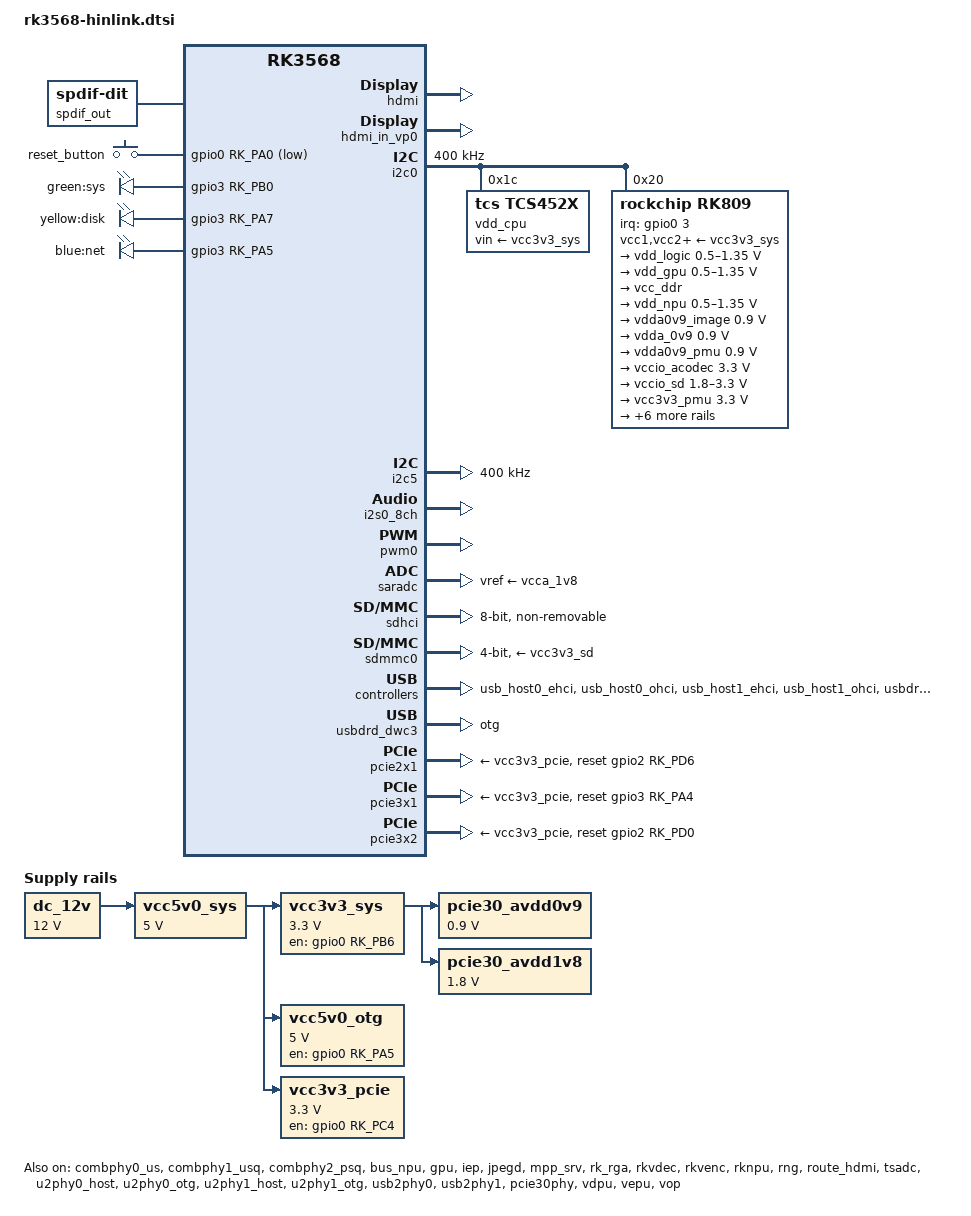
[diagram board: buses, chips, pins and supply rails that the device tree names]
// SPDX-License-Identifier: (GPL-2.0+ OR MIT)
/*
 * Copyright (c) 2020 Rockchip Electronics Co., Ltd.
 *
 */

/dts-v1/;

#include <dt-bindings/gpio/gpio.h>
#include <dt-bindings/pinctrl/rockchip.h>
#include <dt-bindings/pwm/pwm.h>
#include <dt-bindings/input/rk-input.h>
#include <dt-bindings/display/drm_mipi_dsi.h>
#include <dt-bindings/display/rockchip_vop.h>
#include <dt-bindings/sensor-dev.h>
#include "rk3568.dtsi"

/ {
	aliases {
		mmc0 = &sdmmc0;
		mmc1 = &sdhci;

		led-boot = &led_green;
		led-failsafe = &led_green;
		led-running = &led_green;
		led-upgrade = &led_green;
	};

	chosen: chosen {
		bootargs = "earlycon=uart8250,mmio32,0xfe660000 console=ttyFIQ0 root=PARTUUID=614e0000-0000 rw rootwait";
	};

	fiq-debugger {
		compatible = "rockchip,fiq-debugger";
		rockchip,serial-id = <2>;
		rockchip,wake-irq = <0>;
		/* If enable uart uses irq instead of fiq */
		rockchip,irq-mode-enable = <1>;
		rockchip,baudrate = <1500000>;  /* Only 115200 and 1500000 */
		interrupts = <GIC_SPI 252 IRQ_TYPE_LEVEL_LOW>;
		pinctrl-names = "default";
		pinctrl-0 = <&uart2m0_xfer>;
		status = "okay";
	};

	firmware {
		optee: optee {
			compatible = "linaro,optee-tz";
			method = "smc";
		};
	};

	debug: debug@fd904000 {
		compatible = "rockchip,debug";
		reg = <0x0 0xfd904000 0x0 0x1000>,
			<0x0 0xfd905000 0x0 0x1000>,
			<0x0 0xfd906000 0x0 0x1000>,
			<0x0 0xfd907000 0x0 0x1000>;
	};

	cspmu: cspmu@fd90c000 {
		compatible = "rockchip,cspmu";
		reg = <0x0 0xfd90c000 0x0 0x1000>,
			<0x0 0xfd90d000 0x0 0x1000>,
			<0x0 0xfd90e000 0x0 0x1000>,
			<0x0 0xfd90f000 0x0 0x1000>;
	};

	hdmi_sound: hdmi-sound {
		compatible = "simple-audio-card";
		simple-audio-card,format = "i2s";
		simple-audio-card,mclk-fs = <128>;
		simple-audio-card,name = "rockchip,hdmi";
		status = "disabled";

		simple-audio-card,cpu {
				sound-dai = <&i2s0_8ch>;
		};
		simple-audio-card,codec {
				sound-dai = <&hdmi>;
		};
	};

	mach: board {
		compatible = "friendlyelec,board";
		machine = "NANOPI5";
		hwrev = <255>;
		model = "NanoPi 5 Series";
		nvmem-cells = <&otp_id>, <&otp_cpu_version>;
		nvmem-cell-names = "id", "cpu-version";
	};

	pdmics: dummy-codec {
		status = "disabled";
		compatible = "rockchip,dummy-codec";
		#sound-dai-cells = <0>;
	};

	pdm_mic_array: pdm-mic-array {
		status = "disabled";
		compatible = "simple-audio-card";
		simple-audio-card,name = "rockchip,pdm-mic-array";
		simple-audio-card,cpu {
			sound-dai = <&pdm>;
		};
		simple-audio-card,codec {
			sound-dai = <&pdmics>;
		};
	};

	rk809_sound: rk809-sound {
		status = "okay";
		compatible = "simple-audio-card";
		simple-audio-card,format = "i2s";
		simple-audio-card,name = "rockchip,rk809-codec";
		simple-audio-card,mclk-fs = <256>;

		simple-audio-card,cpu {
			sound-dai = <&i2s1_8ch>;
		};
		simple-audio-card,codec {
			sound-dai = <&rk809_codec 0>;
		};
	};

	spdif-sound {
		status = "okay";
		compatible = "simple-audio-card";
		simple-audio-card,name = "ROCKCHIP,SPDIF";
		simple-audio-card,cpu {
				sound-dai = <&spdif_8ch>;
		};
		simple-audio-card,codec {
				sound-dai = <&spdif_out>;
		};
	};

	spdif_out: spdif-out {
			status = "okay";
			compatible = "linux,spdif-dit";
			#sound-dai-cells = <0>;
	};

	dc_12v: dc-12v {
		compatible = "regulator-fixed";
		regulator-name = "dc_12v";
		regulator-always-on;
		regulator-boot-on;
		regulator-min-microvolt = <12000000>;
		regulator-max-microvolt = <12000000>;
	};

	vcc5v0_sys: vcc5v0-sys {
		compatible = "regulator-fixed";
		regulator-name = "vcc5v0_sys";
		regulator-always-on;
		regulator-boot-on;
		regulator-min-microvolt = <5000000>;
		regulator-max-microvolt = <5000000>;
		vin-supply = <&dc_12v>;
	};

	vcc3v3_sys: vcc3v3-sys {
		compatible = "regulator-fixed";
		regulator-name = "vcc3v3_sys";
		regulator-always-on;
		regulator-boot-on;
		regulator-min-microvolt = <3300000>;
		regulator-max-microvolt = <3300000>;
		enable-active-high;
		gpio = <&gpio0 RK_PB6 GPIO_ACTIVE_HIGH>;
		pinctrl-names = "default";
		pinctrl-0 = <&vcc3v3_sys_en>;
		vin-supply = <&vcc5v0_sys>;
        };

	vcc5v0_otg: vcc5v0-otg-regulator {
		compatible = "regulator-fixed";
		regulator-name = "vcc5v0_otg";
		regulator-min-microvolt = <5000000>;
		regulator-max-microvolt = <5000000>;
		enable-active-high;
		gpio = <&gpio0 RK_PA5 GPIO_ACTIVE_HIGH>;
		vin-supply = <&vcc5v0_sys>;
		pinctrl-names = "default";
		pinctrl-0 = <&vcc5v0_otg_en>;
	};

	pcie30_avdd0v9: pcie30-avdd0v9 {
		compatible = "regulator-fixed";
		regulator-name = "pcie30_avdd0v9";
		regulator-always-on;
		regulator-boot-on;
		regulator-min-microvolt = <900000>;
		regulator-max-microvolt = <900000>;
		vin-supply = <&vcc3v3_sys>;
	};

	pcie30_avdd1v8: pcie30-avdd1v8 {
		compatible = "regulator-fixed";
		regulator-name = "pcie30_avdd1v8";
		regulator-always-on;
		regulator-boot-on;
		regulator-min-microvolt = <1800000>;
		regulator-max-microvolt = <1800000>;
		vin-supply = <&vcc3v3_sys>;
	};

	vcc3v3_pcie: gpio-regulator {
		compatible = "regulator-fixed";
		regulator-name = "vcc3v3_pcie";
		regulator-min-microvolt = <3300000>;
		regulator-max-microvolt = <3300000>;
		enable-active-high;
		gpio = <&gpio0 RK_PC4 GPIO_ACTIVE_HIGH>;
		startup-delay-us = <5000>;
		vin-supply = <&vcc5v0_sys>;
	};

	gpio-keys {
		compatible = "gpio-keys";
		pinctrl-names = "default";
		pinctrl-0 = <&reset_button>;

		button@1 {
			label = "reset_button";
			linux,code = <KEY_RESTART>;
			gpios = <&gpio0 RK_PA0 GPIO_ACTIVE_LOW>;
			linux,input-type = <1>;
			debounce-interval = <60>;
		};
	};

	leds {
		compatible = "gpio-leds";
		pinctrl-names = "default";
		pinctrl-0 =
			<&led_green_en>,
			<&led_yellow_en>,
			<&led_blue_en>;

		led_green: green {
			gpios = <&gpio3 RK_PB0 GPIO_ACTIVE_HIGH>;
			label = "green:sys";
			linux,default-trigger = "heartbeat";
		};
		led_yellow: yellow {
			gpios = <&gpio3 RK_PA7 GPIO_ACTIVE_HIGH>;
			label = "yellow:disk";
		};
		led_blue: blue {
			gpios = <&gpio3 RK_PA5 GPIO_ACTIVE_HIGH>;
			label = "blue:net";
		};
	};

};

&combphy0_us {
	status = "okay";
};

&combphy1_usq {
	status = "okay";
};

&combphy2_psq {
	status = "okay";
};

&dfi {
	status = "disabled";
};

&dmc {
	status = "disabled";
};

&bus_npu {
	bus-supply = <&vdd_logic>;
	pvtm-supply = <&vdd_cpu>;
	status = "okay";
};

&cpu0 {
	cpu-supply = <&vdd_cpu>;
};

&dsi0 {
	status = "disabled";
};

&dsi1 {
	status = "disabled";
};

&gpu {
	mali-supply = <&vdd_gpu>;
	status = "okay";
};

&hdmi {
	status = "okay";
	rockchip,phy-table =
		<92812500  0x8009 0x0000 0x0270>,
		<165000000 0x800b 0x0000 0x026d>,
		<185625000 0x800b 0x0000 0x01ed>,
		<297000000 0x800b 0x0000 0x01ad>,
		<594000000 0x8029 0x0000 0x0088>,
		<000000000 0x0000 0x0000 0x0000>;
};

&hdmi_in_vp0 {
	status = "okay";
};

&hdmi_in_vp1 {
	status = "disabled";
};

&hdmi_sound {
	status = "okay";
};

&i2c0 {
	status = "okay";
	i2c-scl-rising-time-ns = <160>;
	i2c-scl-falling-time-ns = <30>;
	clock-frequency = <400000>;

	vdd_cpu: tcs4525@1c {
		compatible = "tcs,tcs452x";
		reg = <0x1c>;
		vin-supply = <&vcc3v3_sys>;
		regulator-compatible = "fan53555-reg";
		regulator-name = "vdd_cpu";
		regulator-min-microvolt = <712500>;
		regulator-max-microvolt = <1390000>;
		regulator-init-microvolt = <900000>;
		regulator-ramp-delay = <2300>;
		fcs,suspend-voltage-selector = <1>;
		regulator-boot-on;
		regulator-always-on;
		regulator-state-mem {
			regulator-off-in-suspend;
		};
	};

	rk809: pmic@20 {
		compatible = "rockchip,rk809";
		reg = <0x20>;
		interrupt-parent = <&gpio0>;
		interrupts = <3 IRQ_TYPE_LEVEL_LOW>;

		pinctrl-names = "default", "pmic-sleep",
				"pmic-power-off", "pmic-reset";
		pinctrl-0 = <&pmic_int>;
		pinctrl-1 = <&soc_slppin_slp>, <&rk817_slppin_slp>;
		pinctrl-2 = <&soc_slppin_gpio>, <&rk817_slppin_pwrdn>;
		pinctrl-3 = <&soc_slppin_gpio>, <&rk817_slppin_rst>;

		rockchip,system-power-controller;
		wakeup-source;
		#clock-cells = <1>;
		clock-output-names = "rk808-clkout1", "rk808-clkout2";
		//fb-inner-reg-idxs = <2>;
		/* 1: rst regs (default in codes), 0: rst the pmic */
		pmic-reset-func = <0>;
		/* not save the PMIC_POWER_EN register in uboot */
		not-save-power-en = <1>;

		vcc1-supply = <&vcc3v3_sys>;
		vcc2-supply = <&vcc3v3_sys>;
		vcc3-supply = <&vcc3v3_sys>;
		vcc4-supply = <&vcc3v3_sys>;
		vcc5-supply = <&vcc3v3_sys>;
		vcc6-supply = <&vcc3v3_sys>;
		vcc7-supply = <&vcc3v3_sys>;
		vcc8-supply = <&vcc3v3_sys>;
		vcc9-supply = <&vcc3v3_sys>;

		pwrkey {
			status = "okay";
		};

		pinctrl_rk8xx: pinctrl_rk8xx {
			gpio-controller;
			#gpio-cells = <2>;

			rk817_slppin_null: rk817_slppin_null {
				pins = "gpio_slp";
				function = "pin_fun0";
			};

			rk817_slppin_slp: rk817_slppin_slp {
				pins = "gpio_slp";
				function = "pin_fun1";
			};

			rk817_slppin_pwrdn: rk817_slppin_pwrdn {
				pins = "gpio_slp";
				function = "pin_fun2";
			};

			rk817_slppin_rst: rk817_slppin_rst {
				pins = "gpio_slp";
				function = "pin_fun3";
			};
		};

		regulators {
			vdd_logic: DCDC_REG1 {
				regulator-always-on;
				regulator-boot-on;
				regulator-min-microvolt = <500000>;
				regulator-max-microvolt = <1350000>;
				regulator-init-microvolt = <900000>;
				regulator-ramp-delay = <6001>;
				regulator-initial-mode = <0x2>;
				regulator-name = "vdd_logic";
				regulator-state-mem {
					regulator-off-in-suspend;
				};
			};

			vdd_gpu: DCDC_REG2 {
				regulator-always-on;
				regulator-boot-on;
				regulator-min-microvolt = <500000>;
				regulator-max-microvolt = <1350000>;
				regulator-init-microvolt = <900000>;
				regulator-ramp-delay = <6001>;
				regulator-initial-mode = <0x2>;
				regulator-name = "vdd_gpu";
				regulator-state-mem {
					regulator-off-in-suspend;
				};
			};

			vcc_ddr: DCDC_REG3 {
				regulator-always-on;
				regulator-boot-on;
				regulator-initial-mode = <0x2>;
				regulator-name = "vcc_ddr";
				regulator-state-mem {
					regulator-on-in-suspend;
				};
			};

			vdd_npu: DCDC_REG4 {
				regulator-always-on;
				regulator-boot-on;
				regulator-min-microvolt = <500000>;
				regulator-max-microvolt = <1350000>;
				regulator-init-microvolt = <900000>;
				regulator-ramp-delay = <6001>;
				regulator-initial-mode = <0x2>;
				regulator-name = "vdd_npu";
				regulator-state-mem {
					regulator-off-in-suspend;
				};
			};

			vdda0v9_image: LDO_REG1 {
				regulator-boot-on;
				regulator-always-on;
				regulator-min-microvolt = <900000>;
				regulator-max-microvolt = <900000>;
				regulator-name = "vdda0v9_image";
				regulator-state-mem {
					regulator-off-in-suspend;
				};
			};

			vdda_0v9: LDO_REG2 {
				regulator-always-on;
				regulator-boot-on;
				regulator-min-microvolt = <900000>;
				regulator-max-microvolt = <900000>;
				regulator-name = "vdda_0v9";
				regulator-state-mem {
					regulator-off-in-suspend;
				};
			};

			vdda0v9_pmu: LDO_REG3 {
				regulator-always-on;
				regulator-boot-on;
				regulator-min-microvolt = <900000>;
				regulator-max-microvolt = <900000>;
				regulator-name = "vdda0v9_pmu";
				regulator-state-mem {
					regulator-on-in-suspend;
					regulator-suspend-microvolt = <900000>;
				};
			};

			vccio_acodec: LDO_REG4 {
				regulator-always-on;
				regulator-boot-on;
				regulator-min-microvolt = <3300000>;
				regulator-max-microvolt = <3300000>;
				regulator-name = "vccio_acodec";
				regulator-state-mem {
					regulator-off-in-suspend;
				};
			};

			vccio_sd: LDO_REG5 {
				regulator-always-on;
				regulator-boot-on;
				regulator-min-microvolt = <1800000>;
				regulator-max-microvolt = <3300000>;
				regulator-name = "vccio_sd";
				regulator-state-mem {
					regulator-off-in-suspend;
				};
			};

			vcc3v3_pmu: LDO_REG6 {
				regulator-always-on;
				regulator-boot-on;
				regulator-min-microvolt = <3300000>;
				regulator-max-microvolt = <3300000>;
				regulator-name = "vcc3v3_pmu";
				regulator-state-mem {
					regulator-on-in-suspend;
					regulator-suspend-microvolt = <3300000>;
				};
			};

			vcca_1v8: LDO_REG7 {
				regulator-always-on;
				regulator-boot-on;
				regulator-min-microvolt = <1800000>;
				regulator-max-microvolt = <1800000>;
				regulator-name = "vcca_1v8";
				regulator-state-mem {
					regulator-off-in-suspend;
				};
			};

			vcca1v8_pmu: LDO_REG8 {
				regulator-always-on;
				regulator-boot-on;
				regulator-min-microvolt = <1800000>;
				regulator-max-microvolt = <1800000>;
				regulator-name = "vcca1v8_pmu";
				regulator-state-mem {
					regulator-on-in-suspend;
					regulator-suspend-microvolt = <1800000>;
				};
			};

			vcca1v8_image: LDO_REG9 {
				regulator-always-on;
				regulator-boot-on;
				regulator-min-microvolt = <1800000>;
				regulator-max-microvolt = <1800000>;
				regulator-name = "vcca1v8_image";
				regulator-state-mem {
					regulator-off-in-suspend;
				};
			};

			vcc_1v8: DCDC_REG5 {
				regulator-always-on;
				regulator-boot-on;
				regulator-min-microvolt = <1800000>;
				regulator-max-microvolt = <1800000>;
				regulator-name = "vcc_1v8";
				regulator-state-mem {
					regulator-off-in-suspend;
				};
			};

			vcc_3v3: SWITCH_REG1 {
				regulator-always-on;
				regulator-boot-on;
				regulator-name = "vcc_3v3";
				regulator-state-mem {
					regulator-off-in-suspend;
				};
			};

			vcc3v3_sd: SWITCH_REG2 {
				regulator-always-on;
				regulator-boot-on;
				regulator-name = "vcc3v3_sd";
				regulator-state-mem {
					regulator-off-in-suspend;
				};
			};
		};

		rk809_codec: codec {
			#sound-dai-cells = <1>;
			compatible = "rockchip,rk809-codec", "rockchip,rk817-codec";
			clocks = <&cru I2S1_MCLKOUT>;
			clock-names = "mclk";
			assigned-clocks = <&cru I2S1_MCLKOUT>, <&cru I2S1_MCLK_TX_IOE>;
			assigned-clock-rates = <12288000>;
			assigned-clock-parents = <&cru I2S1_MCLKOUT_TX>, <&cru I2S1_MCLKOUT_TX>;
			pinctrl-names = "default";
			pinctrl-0 = <&i2s1m0_mclk>;
			hp-volume = <20>;
			spk-volume = <3>;
			mic-in-differential;
			status = "okay";
		};
	};
};

&i2c5 {
	status = "okay";
	i2c-scl-rising-time-ns = <160>;
	i2c-scl-falling-time-ns = <30>;
	clock-frequency = <400000>;
};

&i2s0_8ch {
	status = "okay";
};

&i2s1_8ch {
	status = "disabled";
	rockchip,clk-trcm = <1>;
	pinctrl-names = "default";
	pinctrl-0 = <&i2s1m0_sclktx
		     &i2s1m0_lrcktx
		     &i2s1m0_sdi0
		     &i2s1m0_sdo0>;
};

&iep {
	status = "okay";
};

&iep_mmu {
	status = "okay";
};

&jpegd {
	status = "okay";
};

&jpegd_mmu {
	status = "okay";
};

&mpp_srv {
	status = "okay";
};

&nandc0 {
	#address-cells = <1>;
	#size-cells = <0>;
	status = "disabled";

	nand@0 {
		reg = <0>;
		nand-bus-width = <8>;
		nand-ecc-mode = "hw";
		nand-ecc-strength = <16>;
		nand-ecc-step-size = <1024>;
	};
};

&pinctrl {
	leds {
		led_green_en: led-green-en {
			rockchip,pins =
				<3 RK_PB0 RK_FUNC_GPIO &pcfg_pull_none>;
		};
		led_yellow_en: led-yellow-en {
			rockchip,pins =
				<3 RK_PA7 RK_FUNC_GPIO &pcfg_pull_none>;
		};
		led_blue_en: led-blue-en {
			rockchip,pins =
				<3 RK_PA5 RK_FUNC_GPIO &pcfg_pull_none>;
		};
	};

	keys {
		reset_button: reset-button {
			rockchip,pins =
				<0 RK_PA0 RK_FUNC_GPIO &pcfg_pull_up>;
		};
	};

	pmic {
		pmic_int: pmic_int {
			rockchip,pins = <0 RK_PA3 RK_FUNC_GPIO &pcfg_pull_up>;
		};

		soc_slppin_gpio: soc_slppin_gpio {
			rockchip,pins = <0 RK_PA2 RK_FUNC_GPIO &pcfg_output_low_pull_down>;
		};

		soc_slppin_slp: soc_slppin_slp {
			rockchip,pins = <0 RK_PA2 1 &pcfg_pull_up>;
		};

		soc_slppin_rst: soc_slppin_rst {
			rockchip,pins = <0 RK_PA2 2 &pcfg_pull_none>;
		};
	};

	usb {
		vcc5v0_otg_en: vcc5v0-otg-en {
			rockchip,pins = <0 RK_PA5 RK_FUNC_GPIO &pcfg_pull_none>;
		};
	};

	vcc {
		vcc3v3_sys_en: vcc3v3-sys-en {
			rockchip,pins = <0 RK_PB6 RK_FUNC_GPIO &pcfg_pull_none>;
		};
	};
};

&pmu_io_domains {
	status = "okay";
	pmuio2-supply = <&vcc3v3_pmu>;
	vccio1-supply = <&vccio_acodec>;
	vccio3-supply = <&vccio_sd>;
	vccio4-supply = <&vcc_1v8>;
	vccio5-supply = <&vcc_3v3>;
	vccio6-supply = <&vcc_1v8>;
	vccio7-supply = <&vcc_3v3>;
};

&pwm0 {
	status = "okay";
};

&pwm4 {
	status = "disabled";
};

&pwm5 {
	status = "disabled";
};

&pwm7 {
	status = "disabled";

	compatible = "rockchip,remotectl-pwm";
	remote_pwm_id = <3>;
	handle_cpu_id = <1>;
	remote_support_psci = <0>;
	pinctrl-names = "default";
	pinctrl-0 = <&pwm7_pins>;
};

&reserved_memory {
	linux,cma {
		compatible = "shared-dma-pool";
		inactive;
		reusable;
		reg = <0x0 0x10000000 0x0 0x00800000>;
		linux,cma-default;
	};

	ramoops: ramoops@110000 {
		compatible = "ramoops";
		reg = <0x0 0x110000 0x0 0xf0000>;
		record-size = <0x20000>;
		console-size = <0x80000>;
		ftrace-size = <0x00000>;
		pmsg-size = <0x50000>;
	};
};

&rk_rga {
	status = "okay";
};

&rkvdec {
	status = "okay";
};

&rkvdec_mmu {
	status = "okay";
};

&rkvenc {
	venc-supply = <&vdd_logic>;
	status = "okay";
};

&rkvenc_mmu {
	status = "okay";
};

&rknpu {
	rknpu-supply = <&vdd_npu>;
	status = "okay";
};

&rknpu_mmu {
	status = "okay";
};

&rng {
	status = "okay";
};

&rockchip_suspend {
	status = "okay";
};

&route_hdmi {
	status = "okay";
	connect = <&vp0_out_hdmi>;
};

&saradc {
	status = "okay";
	vref-supply = <&vcca_1v8>;
};

&sdhci {
	bus-width = <8>;
	supports-emmc;
	non-removable;
	max-frequency = <200000000>;
	status = "okay";
};

&sdmmc0 {
	max-frequency = <150000000>;
	supports-sd;
	bus-width = <4>;
	cap-mmc-highspeed;
	cap-sd-highspeed;
	disable-wp;
	sd-uhs-sdr104;
	vmmc-supply = <&vcc3v3_sd>;
	vqmmc-supply = <&vccio_sd>;
	pinctrl-names = "default";
	pinctrl-0 = <&sdmmc0_bus4 &sdmmc0_clk &sdmmc0_cmd &sdmmc0_det>;
	status = "okay";
};

&tsadc {
	status = "okay";
};

&u2phy0_host {
	phy-supply = <&vcc5v0_otg>;
	status = "okay";
};

&u2phy0_otg {
	vbus-supply = <&vcc5v0_otg>;
	status = "okay";
};

&u2phy1_host {
	phy-supply = <&vcc5v0_otg>;
	status = "okay";
};

&u2phy1_otg {
	phy-supply = <&vcc5v0_otg>;
	status = "okay";
};

&usb2phy0 {
	status = "okay";
};

&usb2phy1 {
	status = "okay";
};

&usb_host0_ehci {
	status = "okay";
};

&usb_host0_ohci {
	status = "okay";
};

&usb_host1_ehci {
	status = "okay";
};

&usb_host1_ohci {
	status = "okay";
};

&usbdrd_dwc3 {
	dr_mode = "otg";
	extcon = <&usb2phy0>;
	status = "okay";
};

&usbdrd30 {
	status = "okay";
};

&usbhost_dwc3 {
	status = "okay";
};

&usbhost30 {
	status = "okay";
};

&pcie2x1 {
	reset-gpios = <&gpio2 RK_PD6 GPIO_ACTIVE_HIGH>;
	vpcie3v3-supply = <&vcc3v3_pcie>;
	status = "okay";
};

&pcie30phy {
	data-lanes = <1 2>;
	status = "okay";
};

&pcie30phy {
	status = "okay";
};

&pcie3x1 {
	rockchip,bifurcation;
	reset-gpios = <&gpio3 RK_PA4 GPIO_ACTIVE_HIGH>;
	vpcie3v3-supply = <&vcc3v3_pcie>;
	status = "okay";

	pcie@0,0 {
		reg = <0x00100000 0 0 0 0>;
		#address-cells = <3>;
		#size-cells = <2>;

		rtl8125_1: pcie@10,0 {
			reg = <0x000000 0 0 0 0>;
		};
	};
};

&pcie3x2 {
	rockchip,bifurcation;
	rockchip,init-delay-ms = <100>;
	reset-gpios = <&gpio2 RK_PD0 GPIO_ACTIVE_HIGH>;
	vpcie3v3-supply = <&vcc3v3_pcie>;
	status = "okay";

	pcie@0,0 {
		reg = <0x00200000 0 0 0 0>;
		#address-cells = <3>;
		#size-cells = <2>;

		rtl8125_2: pcie@20,0 {
			reg = <0x000000 0 0 0 0>;
		};
	};
};

&vad {
	rockchip,audio-src = <&i2s1_8ch>;
	rockchip,buffer-time-ms = <128>;
	rockchip,det-channel = <0>;
	rockchip,mode = <0>;
};

&vdpu {
	status = "okay";
};

&vdpu_mmu {
	status = "okay";
};

&vepu {
	status = "okay";
};

&vepu_mmu {
	status = "okay";
};

&video_phy0 {
	status = "disabled";
};

&video_phy1 {
	status = "disabled";
};

&vop {
	status = "okay";
	assigned-clocks = <&cru DCLK_VOP0>, <&cru DCLK_VOP1>;
	assigned-clock-parents = <&pmucru PLL_HPLL>, <&cru PLL_VPLL>;
	support-multi-area;
};

&vop_mmu {
	status = "okay";
};
